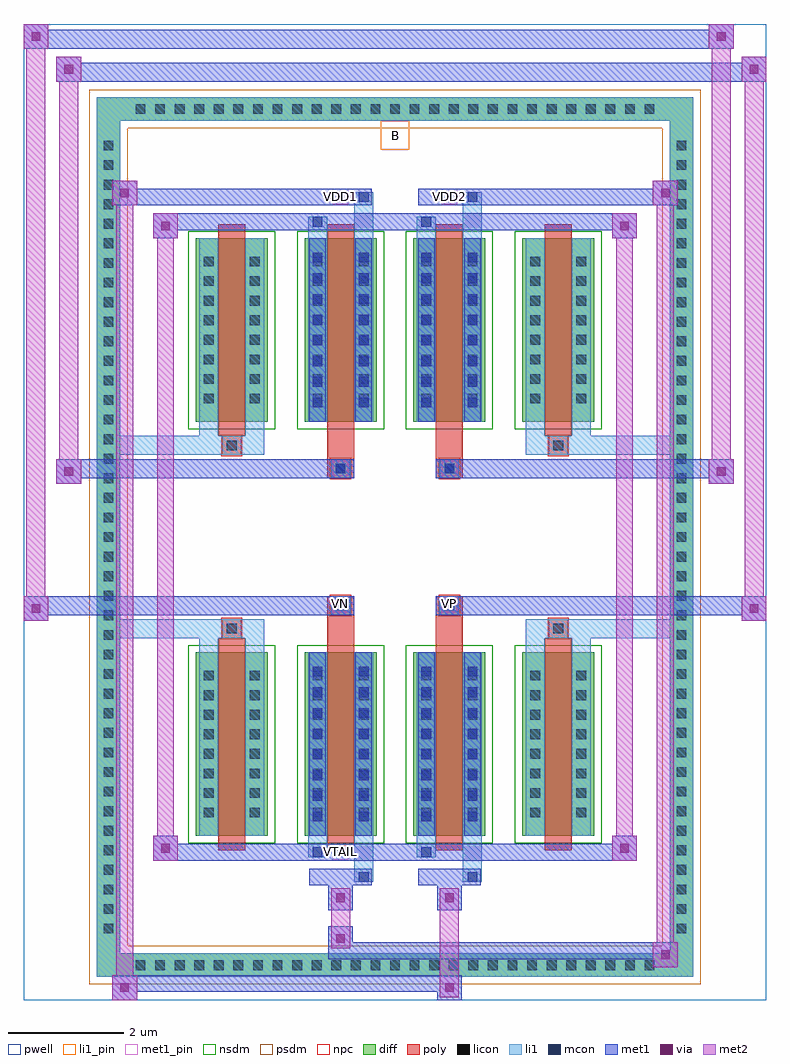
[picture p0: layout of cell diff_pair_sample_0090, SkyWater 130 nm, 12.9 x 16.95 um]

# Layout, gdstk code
import gdstk
lib = gdstk.Library(unit=1e-6, precision=5e-09)
def R(c, l, rs):  # rectangles x0, y0, x1, y1
    for r in rs: c.add(gdstk.rectangle(r[:2], r[2:], *l))
def A(c, l, x, y, w, h, nx, ny, dx, dy):  # array of equal rectangles
    R(c, l, [(x+i*dx, y+j*dy, x+i*dx+w, y+j*dy+h) for i in range(nx) for j in range(ny)])
def P(c, l, *ps):  # polygons
    for p in ps: c.add(gdstk.Polygon(p, *l))
pwell = (64, 44)
diff = (65, 20)
poly = (66, 20)
licon = (66, 44)
li1_pin = (67, 16)
li1 = (67, 20)
mcon = (67, 44)
met1_pin = (68, 16)
met1 = (68, 20)
via = (68, 44)
met2 = (69, 20)
nsdm = (93, 44)
psdm = (94, 20)
npc = (95, 20)

diff_pair_sample_0090 = lib.new_cell('diff_pair_sample_0090')
R(diff_pair_sample_0090, pwell, [(-6.45,-8.04,6.45,8.91), (-3.77,-6.23,-0.01,-0.825), (0.01,-6.23,3.77,-0.825), (-3.77,0.825,-0.01,6.23), (0.01,0.825,3.77,6.23)])
A(diff_pair_sample_0090, diff, -4.625, -7.64, 0.41, 0.41, 27, 2, 0.34, 14.87)
A(diff_pair_sample_0090, diff, -5.18, -7.005, 0.41, 0.41, 1, 41, 0, 0.34)
A(diff_pair_sample_0090, diff, 4.77, -7.005, 0.41, 0.41, 1, 41, 0, 0.34)
A(diff_pair_sample_0090, diff, -3.46, -5.185, 1.25, 3.18, 4, 2, 1.89, 7.19)
R(diff_pair_sample_0090, diff, [(-4.625,-7.64,4.625,-7.23), (-5.18,-7.005,-4.77,7.005), (4.77,-7.005,5.18,7.005), (-4.625,7.23,4.625,7.64)])
P(diff_pair_sample_0090, diff, [(5.18,7.64),(-5.18,7.64),(-5.18,-7.23),(-4.77,-7.23),(-4.77,7.23),(4.77,7.23),(4.77,-7.23),(-4.77,-7.23),(-5.18,-7.23),(-5.18,-7.64),(5.18,-7.64)])
A(diff_pair_sample_0090, poly, -3.07, -5.435, 0.47, 3.68, 4, 2, 1.89, 7.19)
R(diff_pair_sample_0090, poly, [(-3,-1.755,-2.67,-1.425), (-3,-1.755,-2.67,-1.425), (-1.18,-1.755,-0.71,-1.355), (0.71,-1.755,1.18,-1.355), (2.67,-1.755,3,-1.425), (2.67,-1.755,3,-1.425), (-1.18,-1.355,-0.71,-1.025), (-1.11,-1.355,-0.78,-1.025), (0.71,-1.355,1.18,-1.025), (0.78,-1.355,1.11,-1.025), (-1.18,1.025,-0.71,1.355), (-1.11,1.025,-0.78,1.355), (0.71,1.025,1.18,1.355), (0.78,1.025,1.11,1.355), (-1.18,1.355,-0.71,1.755), (0.71,1.355,1.18,1.755), (-3,1.425,-2.67,1.755), (-3,1.425,-2.67,1.755), (2.67,1.425,3,1.755), (2.67,1.425,3,1.755)])
A(diff_pair_sample_0090, licon, -4.505, -7.52, 0.17, 0.17, 27, 2, 0.34, 14.87)
A(diff_pair_sample_0090, licon, -5.06, -6.885, 0.17, 0.17, 1, 41, 0, 0.34)
A(diff_pair_sample_0090, licon, 4.89, -6.885, 0.17, 0.17, 1, 41, 0, 0.34)
A(diff_pair_sample_0090, licon, -3.32, -4.87, 0.17, 0.17, 1, 8, 0, 0.34)
A(diff_pair_sample_0090, licon, -2.52, -4.87, 0.17, 0.17, 1, 8, 0, 0.34)
A(diff_pair_sample_0090, licon, -1.43, -4.87, 0.17, 0.17, 1, 8, 0, 0.34)
A(diff_pair_sample_0090, licon, -0.63, -4.87, 0.17, 0.17, 1, 8, 0, 0.34)
A(diff_pair_sample_0090, licon, 0.46, -4.87, 0.17, 0.17, 1, 8, 0, 0.34)
A(diff_pair_sample_0090, licon, 1.26, -4.87, 0.17, 0.17, 1, 8, 0, 0.34)
A(diff_pair_sample_0090, licon, 2.35, -4.87, 0.17, 0.17, 1, 8, 0, 0.34)
A(diff_pair_sample_0090, licon, 3.15, -4.87, 0.17, 0.17, 1, 8, 0, 0.34)
A(diff_pair_sample_0090, licon, -3.32, 2.32, 0.17, 0.17, 1, 8, 0, 0.34)
A(diff_pair_sample_0090, licon, -2.52, 2.32, 0.17, 0.17, 1, 8, 0, 0.34)
A(diff_pair_sample_0090, licon, -1.43, 2.32, 0.17, 0.17, 1, 8, 0, 0.34)
A(diff_pair_sample_0090, licon, -0.63, 2.32, 0.17, 0.17, 1, 8, 0, 0.34)
A(diff_pair_sample_0090, licon, 0.46, 2.32, 0.17, 0.17, 1, 8, 0, 0.34)
A(diff_pair_sample_0090, licon, 1.26, 2.32, 0.17, 0.17, 1, 8, 0, 0.34)
A(diff_pair_sample_0090, licon, 2.35, 2.32, 0.17, 0.17, 1, 8, 0, 0.34)
A(diff_pair_sample_0090, licon, 3.15, 2.32, 0.17, 0.17, 1, 8, 0, 0.34)
R(diff_pair_sample_0090, licon, [(-2.92,-1.675,-2.75,-1.505), (2.75,-1.675,2.92,-1.505), (-1.03,-1.275,-0.86,-1.105), (0.86,-1.275,1.03,-1.105), (-1.03,1.105,-0.86,1.275), (0.86,1.105,1.03,1.275), (-2.92,1.505,-2.75,1.675), (2.75,1.505,2.92,1.675)])
R(diff_pair_sample_0090, li1_pin, [(-0.25,6.73,0.25,7.23)])
A(diff_pair_sample_0090, li1, -4.585, -7.6, 0.33, 0.33, 27, 2, 0.34, 14.87)
A(diff_pair_sample_0090, li1, -5.14, -6.965, 0.33, 0.33, 1, 41, 0, 0.34)
A(diff_pair_sample_0090, li1, 4.81, -6.965, 0.33, 0.33, 1, 41, 0, 0.34)
A(diff_pair_sample_0090, li1, -3.4, -4.95, 0.33, 0.33, 1, 8, 0, 0.34)
A(diff_pair_sample_0090, li1, -2.6, -4.95, 0.33, 0.33, 1, 8, 0, 0.34)
A(diff_pair_sample_0090, li1, -1.51, -4.95, 0.33, 0.33, 1, 8, 0, 0.34)
A(diff_pair_sample_0090, li1, -0.71, -4.95, 0.33, 0.33, 1, 8, 0, 0.34)
A(diff_pair_sample_0090, li1, 0.38, -4.95, 0.33, 0.33, 1, 8, 0, 0.34)
A(diff_pair_sample_0090, li1, 1.18, -4.95, 0.33, 0.33, 1, 8, 0, 0.34)
A(diff_pair_sample_0090, li1, 2.27, -4.95, 0.33, 0.33, 1, 8, 0, 0.34)
A(diff_pair_sample_0090, li1, 3.07, -4.95, 0.33, 0.33, 1, 8, 0, 0.34)
A(diff_pair_sample_0090, li1, -1.43, -4.94, 0.17, 0.17, 1, 8, 0, 0.36)
A(diff_pair_sample_0090, li1, -0.63, -4.94, 0.17, 0.17, 1, 8, 0, 0.36)
A(diff_pair_sample_0090, li1, 0.46, -4.94, 0.17, 0.17, 1, 8, 0, 0.36)
A(diff_pair_sample_0090, li1, 1.26, -4.94, 0.17, 0.17, 1, 8, 0, 0.36)
A(diff_pair_sample_0090, li1, -3.4, 2.24, 0.33, 0.33, 1, 8, 0, 0.34)
A(diff_pair_sample_0090, li1, -2.6, 2.24, 0.33, 0.33, 1, 8, 0, 0.34)
A(diff_pair_sample_0090, li1, -1.51, 2.24, 0.33, 0.33, 1, 8, 0, 0.34)
A(diff_pair_sample_0090, li1, -0.71, 2.24, 0.33, 0.33, 1, 8, 0, 0.34)
A(diff_pair_sample_0090, li1, 0.38, 2.24, 0.33, 0.33, 1, 8, 0, 0.34)
A(diff_pair_sample_0090, li1, 1.18, 2.24, 0.33, 0.33, 1, 8, 0, 0.34)
A(diff_pair_sample_0090, li1, 2.27, 2.24, 0.33, 0.33, 1, 8, 0, 0.34)
A(diff_pair_sample_0090, li1, 3.07, 2.24, 0.33, 0.33, 1, 8, 0, 0.34)
A(diff_pair_sample_0090, li1, -1.43, 2.25, 0.17, 0.17, 1, 8, 0, 0.36)
A(diff_pair_sample_0090, li1, -0.63, 2.25, 0.17, 0.17, 1, 8, 0, 0.36)
A(diff_pair_sample_0090, li1, 0.46, 2.25, 0.17, 0.17, 1, 8, 0, 0.36)
A(diff_pair_sample_0090, li1, 1.26, 2.25, 0.17, 0.17, 1, 8, 0, 0.36)
R(diff_pair_sample_0090, li1, [(-5.18,-7.64,-4.77,-7.23), (-5.18,-7.64,-4.77,-7.23), (-4.77,-7.64,4.77,-7.23), (4.77,-7.64,5.18,-7.23), (4.77,-7.64,5.18,-7.23), (-5.18,-7.23,-4.77,7.23), (4.77,-7.23,5.18,7.23), (-0.71,-5.99,-0.38,-5.185), (-0.63,-5.99,-0.46,-5.82), (1.18,-5.99,1.51,-5.185), (1.26,-5.99,1.43,-5.82), (-1.51,-5.56,-1.18,-5.185), (-1.43,-5.56,-1.26,-5.39), (0.38,-5.56,0.71,-5.185), (0.46,-5.56,0.63,-5.39), (-3.4,-5.185,-3.07,-2.005), (-2.6,-5.185,-2.27,-2.005), (-1.51,-5.185,-1.18,-2.005), (-0.71,-5.185,-0.38,-2.005), (0.38,-5.185,0.71,-2.005), (1.18,-5.185,1.51,-2.005), (2.27,-5.185,2.6,-2.005), (3.07,-5.185,3.4,-2.005), (-1.43,-4.94,-1.26,-2.25), (-0.63,-4.94,-0.46,-2.25), (0.46,-4.94,0.63,-2.25), (1.26,-4.94,1.43,-2.25), (-3.4,-2.005,-3.07,-1.425), (-2.6,-2.005,-2.27,-1.425), (2.27,-2.005,2.6,-1.425), (3.07,-2.005,3.4,-1.425), (-5.18,-1.755,-3,-1.425), (-3.4,-1.755,-3,-1.425), (-3,-1.755,-2.67,-1.425), (-2.67,-1.755,-2.27,-1.425), (2.27,-1.755,2.67,-1.425), (2.67,-1.755,3,-1.425), (2.67,-1.755,5.18,-1.425), (3,-1.755,3.4,-1.425), (-1.11,-1.355,-0.78,-1.025), (0.78,-1.355,1.11,-1.025), (-1.11,1.025,-0.78,1.355), (0.78,1.025,1.11,1.355), (-5.18,1.425,-3,1.755), (-3.4,1.425,-3,1.755), (-3.4,1.425,-3.07,2.005), (-3,1.425,-2.67,1.755), (-2.67,1.425,-2.27,1.755), (-2.6,1.425,-2.27,2.005), (2.27,1.425,2.67,1.755), (2.27,1.425,2.6,2.005), (2.67,1.425,3,1.755), (2.67,1.425,5.18,1.755), (3,1.425,3.4,1.755), (3.07,1.425,3.4,2.005), (-3.4,2.005,-3.07,5.185), (-2.6,2.005,-2.27,5.185), (-1.51,2.005,-1.18,5.185), (-0.71,2.005,-0.38,5.185), (0.38,2.005,0.71,5.185), (1.18,2.005,1.51,5.185), (2.27,2.005,2.6,5.185), (3.07,2.005,3.4,5.185), (-1.43,2.25,-1.26,4.94), (-0.63,2.25,-0.46,4.94), (0.46,2.25,0.63,4.94), (1.26,2.25,1.43,4.94), (-1.51,5.185,-1.18,5.56), (-0.71,5.185,-0.38,5.99), (0.38,5.185,0.71,5.56), (1.18,5.185,1.51,5.99), (-1.43,5.39,-1.26,5.56), (0.46,5.39,0.63,5.56), (-0.63,5.82,-0.46,5.99), (1.26,5.82,1.43,5.99), (-5.18,7.23,-4.77,7.64), (-5.18,7.23,-4.77,7.64), (-4.77,7.23,4.77,7.64), (4.77,7.23,5.18,7.64), (4.77,7.23,5.18,7.64)])
A(diff_pair_sample_0090, mcon, -1.43, -4.94, 0.17, 0.17, 1, 8, 0, 0.36)
A(diff_pair_sample_0090, mcon, -0.63, -4.94, 0.17, 0.17, 1, 8, 0, 0.36)
A(diff_pair_sample_0090, mcon, 0.46, -4.94, 0.17, 0.17, 1, 8, 0, 0.36)
A(diff_pair_sample_0090, mcon, 1.26, -4.94, 0.17, 0.17, 1, 8, 0, 0.36)
A(diff_pair_sample_0090, mcon, -1.43, 2.25, 0.17, 0.17, 1, 8, 0, 0.36)
A(diff_pair_sample_0090, mcon, -0.63, 2.25, 0.17, 0.17, 1, 8, 0, 0.36)
A(diff_pair_sample_0090, mcon, 0.46, 2.25, 0.17, 0.17, 1, 8, 0, 0.36)
A(diff_pair_sample_0090, mcon, 1.26, 2.25, 0.17, 0.17, 1, 8, 0, 0.36)
R(diff_pair_sample_0090, mcon, [(-0.63,-5.99,-0.46,-5.82), (1.26,-5.99,1.43,-5.82), (-1.43,-5.56,-1.26,-5.39), (0.46,-5.56,0.63,-5.39), (-1.03,-1.275,-0.86,-1.105), (0.86,-1.275,1.03,-1.105), (-1.03,1.105,-0.86,1.275), (0.86,1.105,1.03,1.275), (-1.43,5.39,-1.26,5.56), (0.46,5.39,0.63,5.56), (-0.63,5.82,-0.46,5.99), (1.26,5.82,1.43,5.99)])
R(diff_pair_sample_0090, met1_pin, [(-1.08,-5.6,-0.81,-5.33), (-1.08,-1.295,-0.81,-1.025), (0.81,-1.295,1.08,-1.025), (-1.08,5.78,-0.81,6.05), (0.81,5.78,1.08,6.05)])
A(diff_pair_sample_0090, met1, -1.49, -5, 0.29, 0.29, 1, 8, 0, 0.36)
A(diff_pair_sample_0090, met1, -0.69, -5, 0.29, 0.29, 1, 8, 0, 0.36)
A(diff_pair_sample_0090, met1, 0.4, -5, 0.29, 0.29, 1, 8, 0, 0.36)
A(diff_pair_sample_0090, met1, 1.2, -5, 0.29, 0.29, 1, 8, 0, 0.36)
A(diff_pair_sample_0090, met1, -1.49, 2.19, 0.29, 0.29, 1, 8, 0, 0.36)
A(diff_pair_sample_0090, met1, -0.69, 2.19, 0.29, 0.29, 1, 8, 0, 0.36)
A(diff_pair_sample_0090, met1, 0.4, 2.19, 0.29, 0.29, 1, 8, 0, 0.36)
A(diff_pair_sample_0090, met1, 1.2, 2.19, 0.29, 0.29, 1, 8, 0, 0.36)
R(diff_pair_sample_0090, met1, [(-4.91,-8.04,-4.48,-7.61), (0.73,-8.04,1.16,-7.61), (-4.91,-7.9,1.16,-7.61), (4.48,-7.47,4.91,-7.04), (-1.16,-7.33,4.91,-7.04), (-1.16,-7.19,-0.73,-6.76), (-1.16,-6.48,-0.73,-6.05), (0.73,-6.48,1.16,-6.05), (-1.49,-6.05,-0.4,-5.76), (-0.69,-6.05,-0.4,-5.76), (0.4,-6.05,1.49,-5.76), (1.2,-6.05,1.49,-5.76), (-4.2,-5.62,-3.77,-5.19), (-4.2,-5.62,-1.49,-5.33), (-1.49,-5.62,-1.2,-5.33), (-1.49,-5.62,-0.4,-5.33), (-0.4,-5.62,0.4,-5.33), (0.4,-5.62,0.69,-5.33), (0.4,-5.62,1.49,-5.33), (1.49,-5.62,4.2,-5.33), (3.77,-5.62,4.2,-5.19), (-1.49,-5.185,-1.2,-2.005), (-0.69,-5.185,-0.4,-2.005), (0.4,-5.185,0.69,-2.005), (1.2,-5.185,1.49,-2.005), (-6.45,-1.455,-6.02,-1.025), (6.02,-1.455,6.45,-1.025), (-6.45,-1.355,-0.71,-1.025), (-1.18,-1.355,-0.71,-1.025), (0.71,-1.355,1.18,-1.025), (0.71,-1.355,6.45,-1.025), (-1.09,-1.335,-0.8,-1.045), (0.8,-1.335,1.09,-1.045), (-5.88,0.925,-5.45,1.355), (5.45,0.925,5.88,1.355), (-5.88,1.025,-1.18,1.355), (-1.18,1.025,-0.71,1.355), (0.71,1.025,1.18,1.355), (1.18,1.025,5.88,1.355), (-1.09,1.045,-0.8,1.335), (0.8,1.045,1.09,1.335), (-1.49,2.005,-1.2,5.185), (-0.69,2.005,-0.4,5.185), (0.4,2.005,0.69,5.185), (1.2,2.005,1.49,5.185), (-4.2,5.19,-3.77,5.62), (3.77,5.19,4.2,5.62), (-4.2,5.33,-1.49,5.62), (-1.49,5.33,-1.2,5.62), (-1.49,5.33,-0.4,5.62), (-0.4,5.33,0.4,5.62), (0.4,5.33,0.69,5.62), (0.4,5.33,1.49,5.62), (1.49,5.33,4.2,5.62), (-4.91,5.76,-4.48,6.19), (-4.91,5.76,-1.49,6.05), (-1.49,5.76,-0.4,6.05), (-0.69,5.76,-0.4,6.05), (0.4,5.76,1.49,6.05), (1.2,5.76,1.49,6.05), (1.49,5.76,4.91,6.05), (4.48,5.76,4.91,6.19), (-5.88,7.91,-5.45,8.34), (-5.88,7.91,-3.77,8.24), (-3.77,7.91,3.77,8.24), (3.77,7.91,6.45,8.24), (6.02,7.91,6.45,8.34), (-6.45,8.48,-6.02,8.91), (-6.45,8.48,-3.77,8.81), (-3.77,8.48,3.77,8.81), (3.77,8.48,5.88,8.81), (5.45,8.48,5.88,8.91)])
R(diff_pair_sample_0090, via, [(-4.77,-7.9,-4.62,-7.75), (0.87,-7.9,1.02,-7.75), (4.62,-7.33,4.77,-7.18), (-1.02,-7.05,-0.87,-6.9), (-1.02,-6.34,-0.87,-6.19), (0.87,-6.34,1.02,-6.19), (-4.06,-5.48,-3.91,-5.33), (3.91,-5.48,4.06,-5.33), (-6.31,-1.315,-6.16,-1.165), (6.16,-1.315,6.31,-1.165), (-5.74,1.065,-5.59,1.215), (5.59,1.065,5.74,1.215), (-4.06,5.33,-3.91,5.48), (3.91,5.33,4.06,5.48), (-4.77,5.9,-4.62,6.05), (4.62,5.9,4.77,6.05), (-5.74,8.05,-5.59,8.2), (6.16,8.05,6.31,8.2), (-6.31,8.62,-6.16,8.77), (5.59,8.62,5.74,8.77)])
R(diff_pair_sample_0090, met2, [(-4.91,-8.04,-4.48,-7.61), (-4.84,-8.04,-4.55,6.19), (-4.55,-8.04,-4.48,-7.61), (-4.86,-7.99,-4.53,-7.66), (0.78,-7.99,1.11,-7.66), (0.78,-7.66,1.11,-6.43), (4.48,-7.47,4.91,-7.04), (4.55,-7.47,4.84,6.19), (4.84,-7.47,4.91,-7.04), (4.53,-7.42,4.86,-7.09), (-1.11,-7.14,-0.78,-6.81), (-1.11,-6.81,-0.78,-6.43), (-1.11,-6.43,-0.78,-6.1), (0.78,-6.43,1.11,-6.1), (-4.2,-5.62,-3.77,-5.19), (-4.13,-5.62,-3.84,5.62), (-3.84,-5.62,-3.77,-5.19), (3.77,-5.62,4.2,-5.19), (3.84,-5.62,4.13,5.62), (4.13,-5.62,4.2,-5.19), (-4.15,-5.57,-3.82,-5.24), (3.82,-5.57,4.15,-5.24), (-6.45,-1.455,-6.02,-1.025), (-6.4,-1.455,-6.07,8.91), (-6.07,-1.455,-6.02,-1.025), (6.02,-1.455,6.45,-1.025), (6.07,-1.455,6.4,8.34), (6.4,-1.455,6.45,-1.025), (-6.4,-1.405,-6.07,-1.075), (6.07,-1.405,6.4,-1.075), (-5.88,0.925,-5.45,1.355), (-5.83,0.925,-5.5,8.34), (-5.5,0.925,-5.45,1.355), (5.45,0.925,5.88,1.355), (5.5,0.925,5.83,8.91), (5.83,0.925,5.88,1.355), (-5.83,0.975,-5.5,1.305), (5.5,0.975,5.83,1.305), (-4.2,5.19,-3.77,5.62), (-3.84,5.19,-3.77,5.62), (3.77,5.19,4.2,5.62), (4.13,5.19,4.2,5.62), (-4.15,5.24,-3.82,5.57), (3.82,5.24,4.15,5.57), (-4.91,5.76,-4.48,6.19), (-4.55,5.76,-4.48,6.19), (4.48,5.76,4.91,6.19), (4.84,5.76,4.91,6.19), (-4.86,5.81,-4.53,6.14), (4.53,5.81,4.86,6.14), (-5.88,7.91,-5.45,8.34), (-5.5,7.91,-5.45,8.34), (6.02,7.91,6.45,8.34), (6.4,7.91,6.45,8.34), (-5.83,7.96,-5.5,8.29), (6.07,7.96,6.4,8.29), (-6.45,8.48,-6.02,8.91), (-6.07,8.48,-6.02,8.91), (5.45,8.48,5.88,8.91), (5.83,8.48,5.88,8.91), (-6.4,8.53,-6.07,8.86), (5.5,8.53,5.83,8.86)])
A(diff_pair_sample_0090, nsdm, -3.59, -5.315, 1.51, 3.44, 4, 2, 1.89, 7.19)
P(diff_pair_sample_0090, psdm, [(5.31,7.77),(-5.31,7.77),(-5.31,-7.1),(-4.64,-7.1),(-4.64,7.1),(4.64,7.1),(4.64,-7.1),(-4.64,-7.1),(-5.31,-7.1),(-5.31,-7.77),(5.31,-7.77)])
R(diff_pair_sample_0090, npc, [(-3.02,-1.775,-2.65,-1.405), (2.65,-1.775,3.02,-1.405), (-1.13,-1.375,-0.76,-1.005), (0.76,-1.375,1.13,-1.005), (-1.13,1.005,-0.76,1.375), (0.76,1.005,1.13,1.375), (-3.02,1.405,-2.65,1.775), (2.65,1.405,3.02,1.775)])
diff_pair_sample_0090.add(gdstk.Label('VTAIL', (-0.945,-5.465), layer=68, texttype=5))
diff_pair_sample_0090.add(gdstk.Label('VN', (-0.945,-1.16), layer=68, texttype=5))
diff_pair_sample_0090.add(gdstk.Label('VP', (0.945,-1.16), layer=68, texttype=5))
diff_pair_sample_0090.add(gdstk.Label('B', (0,6.98), layer=67, texttype=5))
diff_pair_sample_0090.add(gdstk.Label('VDD2', (0.945,5.915), layer=68, texttype=5))
diff_pair_sample_0090.add(gdstk.Label('VDD1', (-0.945,5.915), layer=68, texttype=5))

lib.write_gds('diff_pair_sample_0090.gds')
